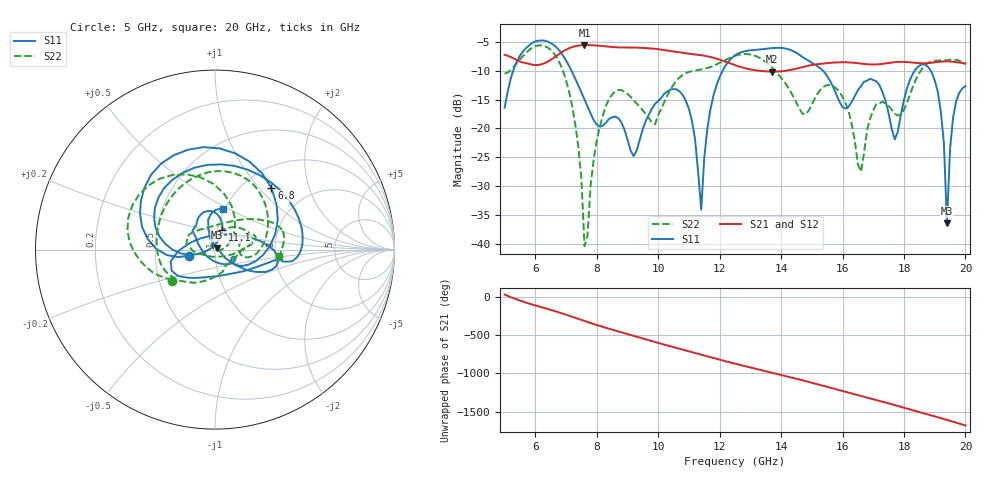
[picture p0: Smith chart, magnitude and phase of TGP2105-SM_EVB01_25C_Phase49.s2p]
! Date: Wednesday, June 05, 2013  1:52 PM
! Filename: C:\Data\Mike_Arnold\TGP2105-SM\Over_Temp\TGP2105-SM_EVB01_25C_Phase49.s2p
! Comments:
!^VDC(V):5.000
!^VDC(mA):0.034
!%Freq(GHz),S11(dB),S11(ang),S21(dB),S21(ang),S12(dB),S12(ang),S22(dB),S22(ang)
# GHz  S  DB  R  50
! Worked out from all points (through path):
!   151 points, 5 GHz to 20 GHz, reference 50 ohm
!   highest |S21| = -5.58 dB at 7.6 GHz (marker M1); lowest = -10.2 dB at 13.7 GHz (marker M2)
!   lowest |S11| = -36.4 dB at 19.4 GHz (marker M3), VSWR 1.03, Z = 51.1 + j1.1 ohm
!   |S11| at or under -10 dB: 7.174 GHz to 12.1 GHz (4.922 GHz wide, 51.1 % of centre); 15.36 GHz to 18.35 GHz (2.995 GHz wide, 17.8 % of centre); 18.87 GHz to end of sweep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
!   |S22| runs from -40.4 to -5.6 dB; largest |S21 - S12| = 0.0023
!   S11 on the Smith chart (normalised r, x): 5 GHz: 0.74, -0.05; 6.8 GHz: 1.33, +1.17; 11.1 GHz: 1.06, +0.23; 20 GHz: 0.98, +0.47
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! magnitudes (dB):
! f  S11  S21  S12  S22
! 5 GHz  -16.4  -7.3  -7.3  -10.5
! 5.7 GHz  -6.1  -8.7  -8.7  -6.9
! 6.8 GHz  -6.6  -7.0  -7.1  -8.8
! 7.5 GHz  -13.8  -5.6  -5.6  -28.8
! 7.6 GHz  -15.0  -5.6  -5.6  -40.4
! 8.4 GHz  -18.3  -5.9  -5.9  -14.9
! 9.2 GHz  -24.8  -6.0  -6.0  -15.2
! 10 GHz  -15.3  -6.3  -6.3  -17.7
! 11.1 GHz  -18.7  -7.1  -7.1  -10.1
! 11.4 GHz  -34.1  -7.3  -7.4  -9.8
! 11.7 GHz  -16.7  -7.6  -7.7  -9.4
! 12.5 GHz  -7.4  -9.1  -9.1  -7.4
! 13.7 GHz  -6.1  -10.2  -10.2  -9.5
! 15 GHz  -8.7  -9.0  -9.0  -15.9
! 15.9 GHz  -15.4  -8.6  -8.6  -13.7
! 16.6 GHz  -12.7  -8.8  -8.8  -27.5
! 17.5 GHz  -17.4  -8.7  -8.7  -16.1
! 18.9 GHz  -10.3  -8.6  -8.7  -8.4
! 19.2 GHz  -17.1  -8.4  -8.5  -8.2
! 19.4 GHz  -36.4  -8.4  -8.4  -8.2
! 19.6 GHz  -18.1  -8.5  -8.5  -8.1
! 20 GHz  -12.7  -8.8  -8.8  -8.9
